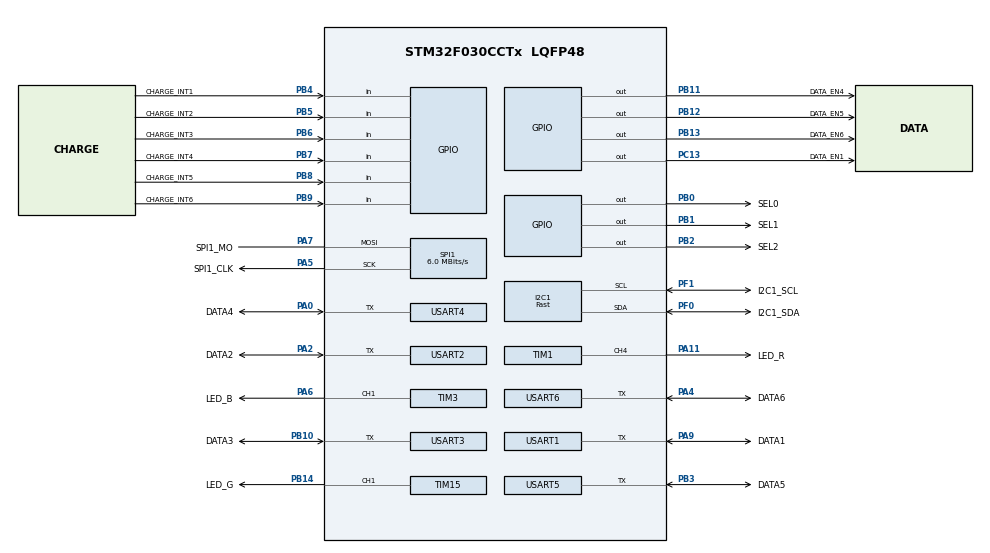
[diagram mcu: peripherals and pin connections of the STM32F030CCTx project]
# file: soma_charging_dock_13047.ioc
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I2C1.I2C_Speed_Mode=I2C_Fast
I2C1.Timing=0x0000020B
Mcu.Family=STM32F0
Mcu.Name=STM32F030CCTx
Mcu.Package=LQFP48
NVIC.USART1_IRQn=true\:0\:0\:false\:false\:true\:true\:true\:true
NVIC.USART2_IRQn=true\:0\:0\:false\:false\:true\:true\:true\:true
NVIC.USART3_6_IRQn=true\:0\:0\:false\:false\:true\:true\:true\:true
PA0.GPIO_Label=DATA4
PA0.Mode=Half_duplex(single_wire_mode)
PA0.Signal=USART4_TX
PA11.GPIO_Label=LED_R
PA11.GPIO_PuPd=GPIO_PULLDOWN
PA11.Signal=S_TIM1_CH4
PA13.Mode=Serial_Wire
PA13.Signal=SYS_SWDIO
PA14.Mode=Serial_Wire
PA14.Signal=SYS_SWCLK
PA2.GPIO_Label=DATA2
PA2.Mode=Half_duplex(single_wire_mode)
PA2.Signal=USART2_TX
PA4.GPIO_Label=DATA6
PA4.Mode=Half_duplex(single_wire_mode)
PA4.Signal=USART6_TX
PA5.GPIO_Label=SPI1_CLK
PA5.GPIO_Speed=GPIO_SPEED_FREQ_LOW
PA5.Mode=Simplex_Bidirectional_Master
PA5.Signal=SPI1_SCK
PA6.GPIO_Label=LED_B
PA6.GPIO_PuPd=GPIO_PULLDOWN
PA6.Signal=S_TIM3_CH1
PA7.GPIO_Label=SPI1_MO
PA7.GPIO_Speed=GPIO_SPEED_FREQ_LOW
PA7.Mode=Simplex_Bidirectional_Master
PA7.Signal=SPI1_MOSI
PA9.GPIO_FMA9=SYSCFG_CFGR1_I2C_FMP_PA9
PA9.GPIO_Label=DATA1
PA9.GPIO_Speed=GPIO_SPEED_FREQ_HIGH
PA9.Mode=Half_duplex(single_wire_mode)
PA9.Signal=USART1_TX
PB0.GPIO_Label=SEL0
PB0.Signal=GPIO_Output
PB1.GPIO_Label=SEL1
PB1.Signal=GPIO_Output
PB10.GPIO_Label=DATA3
PB10.GPIO_ModeDefaultOD=GPIO_MODE_AF_OD
PB10.Mode=Half_duplex(single_wire_mode)
PB10.Signal=USART3_TX
PB11.GPIO_Label=DATA_EN4
PB11.Signal=GPIO_Output
PB12.GPIO_Label=DATA_EN5
PB12.Signal=GPIO_Output
PB13.GPIO_Label=DATA_EN6
PB13.Signal=GPIO_Output
PB14.GPIO_Label=LED_G
PB14.GPIO_PuPd=GPIO_PULLDOWN
PB14.Signal=S_TIM15_CH1
PB2.GPIO_Label=SEL2
PB2.Signal=GPIO_Output
PB3.GPIO_Label=DATA5
PB3.Mode=Half_duplex(single_wire_mode)
PB3.Signal=USART5_TX
PB4.GPIO_Label=CHARGE_INT1
PB4.GPIO_PuPd=GPIO_PULLUP
PB4.Signal=GPIO_Input
PB5.GPIO_Label=CHARGE_INT2
PB5.GPIO_PuPd=GPIO_PULLUP
PB5.Signal=GPIO_Input
PB6.GPIO_Label=CHARGE_INT3
PB6.GPIO_PuPd=GPIO_PULLUP
PB6.Signal=GPIO_Input
PB7.GPIO_Label=CHARGE_INT4
PB7.GPIO_PuPd=GPIO_PULLUP
PB7.Signal=GPIO_Input
PB8.GPIO_Label=CHARGE_INT5
PB8.GPIO_PuPd=GPIO_PULLUP
PB8.Signal=GPIO_Input
PB9.GPIO_Label=CHARGE_INT6
PB9.GPIO_PuPd=GPIO_PULLUP
PB9.Signal=GPIO_Input
PC13.GPIO_Label=DATA_EN1
PC13.Signal=GPIO_Output
PC14OSC32_IN.GPIO_Label=DATA_EN2
PC14OSC32_IN.Signal=GPIO_Output
PC15OSC32_OUT.GPIO_Label=DATA_EN3
PC15OSC32_OUT.Signal=GPIO_Output
PF0-OSC_IN.GPIO_Label=I2C1_SDA
PF0-OSC_IN.GPIO_Pu=GPIO_PULLUP
PF0-OSC_IN.GPIO_Speed=GPIO_SPEED_FREQ_LOW
PF0-OSC_IN.Mode=I2C
PF0-OSC_IN.Signal=I2C1_SDA
PF1-OSC_OUT.GPIO_Label=I2C1_SCL
PF1-OSC_OUT.GPIO_Pu=GPIO_PULLUP
PF1-OSC_OUT.GPIO_Speed=GPIO_SPEED_FREQ_LOW
PF1-OSC_OUT.Mode=I2C
PF1-OSC_OUT.Signal=I2C1_SCL
ProjectManager.HeapSize=0x200
ProjectManager.StackSize=0x400
ProjectManager.TargetToolchain=MDK-ARM V5.32
RCC.AHBFreq_Value=48000000
RCC.APB1Freq_Value=48000000
RCC.APB1TimFreq_Value=48000000
RCC.HCLKFreq_Value=48000000
RCC.PLLMUL=RCC_PLL_MUL6
RCC.SYSCLKFreq_VALUE=48000000
RCC.SYSCLKSource=RCC_SYSCLKSOURCE_PLLCLK
SH.S_TIM15_CH1.0=TIM15_CH1,PWM Generation1 CH1
SH.S_TIM1_CH4.0=TIM1_CH4,PWM Generation4 CH4
SH.S_TIM3_CH1.0=TIM3_CH1,PWM Generation1 CH1
SPI1.BaudRatePrescaler=SPI_BAUDRATEPRESCALER_8
SPI1.CLKPhase=SPI_PHASE_2EDGE
SPI1.CLKPolarity=SPI_POLARITY_LOW
SPI1.CalculateBaudRate=6.0 MBits/s
SPI1.DataSize=SPI_DATASIZE_8BIT
SPI1.Direction=SPI_DIRECTION_1LINE
SPI1.Mode=SPI_MODE_MASTER
SPI1.VirtualType=VM_MASTER
TIM1.AutoReloadPreload=TIM_AUTORELOAD_PRELOAD_ENABLE
TIM1.AutomaticOutput=TIM_AUTOMATICOUTPUT_ENABLE
TIM1.Channel-PWM\ Generation4\ CH4=TIM_CHANNEL_4
TIM1.Period=99
TIM1.Prescaler=479
TIM1.Pulse-PWM\ Generation4\ CH4=30
TIM15.AutoReloadPreload=TIM_AUTORELOAD_PRELOAD_ENABLE
TIM15.AutomaticOutput=TIM_AUTOMATICOUTPUT_ENABLE
TIM15.Channel-PWM\ Generation1\ CH1=TIM_CHANNEL_1
TIM15.Period=99
TIM15.Prescaler=479
TIM15.Pulse-PWM\ Generation1\ CH1=30
TIM3.AutoReloadPreload=TIM_AUTORELOAD_PRELOAD_ENABLE
TIM3.Channel-PWM\ Generation1\ CH1=TIM_CHANNEL_1
TIM3.Period=99
TIM3.Prescaler=479
TIM3.Pulse-PWM\ Generation1\ CH1=30
USART1.BaudRate=1000000
USART1.OverSampling=UART_OVERSAMPLING_8
USART1.VirtualMode-Half_duplex(single_wire_mode)=VM_ASYNC
USART2.BaudRate=1000000
USART2.VirtualMode-Half_duplex(single_wire_mode)=VM_ASYNC
USART3.BaudRate=1000000
USART3.VirtualMode-Half_duplex(single_wire_mode)=VM_ASYNC
USART4.BaudRate=1000000
USART4.VirtualMode-Half_duplex(single_wire_mode)=VM_ASYNC
USART5.BaudRate=1000000
USART5.VirtualMode-Half_duplex(single_wire_mode)=VM_ASYNC
USART6.BaudRate=1000000
USART6.VirtualMode=VM_ASYNC
VP_TIM15_VS_ClockSourceINT.Mode=Internal
VP_TIM1_VS_ClockSourceINT.Mode=Internal
VP_TIM3_VS_ClockSourceINT.Mode=Internal
board=custom

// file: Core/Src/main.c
/* USER CODE BEGIN Header */
/**
  ******************************************************************************
  * @file           : main.c
  * @brief          : Main program body
  ******************************************************************************
  * @attention
  *
  * Copyright (c) 2024 STMicroelectronics.
  * All rights reserved.
  *
  * This software is licensed under terms that can be found in the LICENSE file
  * in the root directory of this software component.
  * If no LICENSE file comes with this software, it is provided AS-IS.
  *
  ******************************************************************************
  */
/* USER CODE END Header */
#include "main.h"
#include "i2c.h"
#include "spi.h"
#include "tim.h"
#include "usart.h"
#include "gpio.h"

/* USER CODE BEGIN Includes */
#include "app_rgbled.h"
#include "app_mp2664gg.h"

/* USER CODE END Includes */

void SystemClock_Config(void);

/* USER CODE BEGIN 0 */

void delay_nop(uint32_t nCount)
{
   for(; nCount != 0; nCount--)
   {
      __NOP();
   }
}

void Send_Data_To_UART1 (uint8_t c)
{
   USART1->TDR = c;
   while( (USART1-> ISR & (1<<7) ) ==0 );  //USART_ISR_TC  //USART_ISR_TXE_TXFNF
}

void iputs1(char *msg)
{
   while(*msg)
   Send_Data_To_UART1(*msg++);
}

void iputbytes1(uint8_t *msg, uint32_t ilen)
{
   while(ilen--)
   Send_Data_To_UART1(*msg++);
}

void uartsendcmd(uint8_t *scmd, uint32_t ilen)
{
   //switch to tx
   delay_nop(WAIT2TE_SLAVE); //delay_nop(WAIT2TE_MASTER);
   switch2send(USART1);

   //iputbytes1((uint8_t *)scmd,ilen);
   iputbytes1(scmd,ilen);

   //switch to rx
   delay_nop(WAIT2RE_SLAVE);  //delay_nop(WAIT2RE0_MASTER);
   switch2read(USART1);
}

void uartsendstr(uint8_t *str1)
{
   //switch to tx
   delay_nop(WAIT2TE_SLAVE); //delay_nop(WAIT2TE_MASTER);
   switch2send(USART1);

   iputs1((char*)str1);

   //switch to rx
   delay_nop(WAIT2RE_SLAVE);  //delay_nop(WAIT2RE0_MASTER);
   switch2read(USART1);
}

//-----------------uartx-------------------------------------

void Send_Data_To_UARTx(USART_TypeDef *USARTx, uint8_t c)
{
   USARTx->TDR = c;
   while( (USARTx-> ISR & (1<<7) ) ==0 );  //USART_ISR_TC  //USART_ISR_TXE_TXFNF
}

void iputsx(USART_TypeDef *USARTx , char *msg)
{
   while(*msg)
   Send_Data_To_UARTx(USARTx ,*msg++);
}

void iputbytesx(USART_TypeDef *USARTx, uint8_t *msg, uint32_t ilen)
{
   while(ilen--)
   Send_Data_To_UARTx(USARTx ,*msg++);
}

void uartsendcmdx(USART_TypeDef *USARTx, uint8_t *scmd, uint32_t ilen)
{
   //switch to tx
   delay_nop(WAIT2TE_SLAVE);
   switch2send(USARTx);

   iputbytesx(USARTx, scmd,ilen);

   //switch to rx
   delay_nop(WAIT2RE_SLAVE);
   switch2read(USARTx);
}

void uartsendstrx(USART_TypeDef *USARTx, uint8_t *str1)
{
   //switch to tx
   delay_nop(WAIT2TE_SLAVE);
   switch2send(USARTx);

   iputsx(USARTx, (char*)str1);

   //switch to rx
   delay_nop(WAIT2RE_SLAVE);
   switch2read(USARTx);
}

//-----------------uartx----------end---------------------------

void spi_transmitbytes(uint8_t *sdata, uint16_t inum)
{
   for(uint16_t i =0; i< inum; i++)
   {
      LL_SPI_TransmitData8(SPI1, sdata[i]);
      while(!LL_SPI_IsActiveFlag_TXE(SPI1));
   }
}

void pwmled_task(void)
{
     static uint32_t iduty=0;

     iduty++;
     if(iduty>10)
        iduty=0;

     LL_TIM_OC_SetCompareCH1(TIM3, iduty);
     LL_TIM_OC_SetCompareCH4(TIM1, iduty);
     LL_TIM_OC_SetCompareCH1(TIM15, iduty);

}

uint8_t i2c_writereg(uint16_t idevaddr, uint8_t ireg,uint8_t data)
{
   if((HAL_I2C_Mem_Write(&hi2c1,idevaddr,ireg,I2C_MEMADD_SIZE_8BIT,&data,1,1000)) == HAL_OK)
   {
      return 0;
   }
   else
   {
      return 1;
   }
}

uint8_t i2c_readreg(uint16_t idevaddr,uint8_t ireg)
{
   uint8_t res;
   HAL_I2C_Mem_Read(&hi2c1,idevaddr,ireg,I2C_MEMADD_SIZE_8BIT,&res,1,1000);
   return res;
}

uint8_t i2c_writebytes(uint16_t idevaddr, uint8_t ireg, uint8_t *sbuf,uint16_t ilen)
{
   if((HAL_I2C_Mem_Write(&hi2c1,idevaddr,ireg,I2C_MEMADD_SIZE_8BIT,sbuf,ilen,1000)) == HAL_OK)
   {
      return 0;
   }
   else
   {
      return 1;
   }
}

uint8_t i2c_readbytes(uint16_t idevaddr,uint8_t ireg,uint8_t *sbuf,uint16_t ilen)
{
   if((HAL_I2C_Mem_Read(&hi2c1,idevaddr,ireg,I2C_MEMADD_SIZE_8BIT,sbuf,ilen,1000)) == HAL_OK)
   {
      return 0;
   }
   else
   {
      return 1;
   }
}

/* USER CODE END 0 */

int main(void)
{

  /* MCU Configuration--------------------------------------------------------*/

  /* Reset of all peripherals, Initializes the Flash interface and the Systick. */
  HAL_Init();

  /* Configure the system clock */
  SystemClock_Config();

  /* Initialize all configured peripherals */
  MX_GPIO_Init();
  MX_USART1_UART_Init();
  MX_SPI1_Init();
  MX_TIM3_Init();
  MX_TIM1_Init();
  MX_TIM15_Init();
  MX_I2C1_Init();
  MX_USART2_UART_Init();
  MX_USART3_UART_Init();
  MX_USART4_UART_Init();
  MX_USART5_UART_Init();
  MX_USART6_UART_Init();
  /* USER CODE BEGIN 2 */

   LL_GPIO_ResetOutputPin( DATA_EN1_GPIO_Port, DATA_EN1_Pin);
   LL_GPIO_ResetOutputPin( DATA_EN2_GPIO_Port, DATA_EN2_Pin);
   LL_GPIO_ResetOutputPin( DATA_EN3_GPIO_Port, DATA_EN3_Pin);
   LL_GPIO_ResetOutputPin( DATA_EN4_GPIO_Port, DATA_EN4_Pin);
   LL_GPIO_ResetOutputPin( DATA_EN5_GPIO_Port, DATA_EN5_Pin);
   LL_GPIO_ResetOutputPin( DATA_EN6_GPIO_Port, DATA_EN6_Pin);

   uartsendstrx(USART1,(uint8_t*)"start1...");
   uartsendstrx(USART2,(uint8_t*)"start2...");
   uartsendstrx(USART3,(uint8_t*)"start3...");
   uartsendstrx(USART4,(uint8_t*)"start4...");
   uartsendstrx(USART5,(uint8_t*)"start5...");
   uartsendstrx(USART6,(uint8_t*)"start6...");

   LL_SPI_Enable(SPI1);

   //TIM3 CH1 PA6
   LL_TIM_CC_EnableChannel(TIM3, LL_TIM_CHANNEL_CH1);
   LL_TIM_EnableCounter(TIM3);

   //TIM1 CH4 PA11
   LL_TIM_CC_EnableChannel(TIM1, LL_TIM_CHANNEL_CH4);
   LL_TIM_EnableCounter(TIM1);

   //TIM15 CH1 PB14
   LL_TIM_CC_EnableChannel(TIM15, LL_TIM_CHANNEL_CH1);
   LL_TIM_EnableCounter(TIM15);

  /* USER CODE END 2 */

  /* Infinite loop */
  /* USER CODE BEGIN WHILE */

  //SEL2-0: 000 , sel I2C_SCL_1
   LL_GPIO_ResetOutputPin( SEL0_GPIO_Port, SEL0_Pin);
   LL_GPIO_ResetOutputPin( SEL1_GPIO_Port, SEL1_Pin);
   LL_GPIO_ResetOutputPin( SEL2_GPIO_Port, SEL2_Pin);

   while (1)
   {
      static uint32_t imaincount=0;
      uint8_t itemp=0;

      imaincount++;

      if(imaincount>2500000)
      {
         imaincount=0;

         //--------test charge current----------------------------------

         opencharge(BATT_CHANNEL0);
         set_fastcharge_current(BATT_CHANNEL0, 0x10);
         set_batt_regulation_voltage(BATT_CHANNEL0, 0x28<<2 );

         itemp=i2c_readreg( ICADDR_MP2664GG,MP2664GG_POWERON_CONFIG_REG);
         uartsendcmd( (uint8_t*)&itemp,1);
         itemp=i2c_readreg( ICADDR_MP2664GG,MP2664GG_CHARGECURRENT_CONTROL_REG);
         uartsendcmd( (uint8_t*)&itemp,1);
         itemp=i2c_readreg( ICADDR_MP2664GG,MP2664GG_CHARGEVOLTAGE_CONTROL_REG);
         uartsendcmd( (uint8_t*)&itemp,1);

         //read the status
         //closecharge(BATT_CHANNEL0);
         itemp=get_system_status(BATT_CHANNEL0);
         uartsendcmd( (uint8_t*)&itemp,1);
         itemp=get_fault(BATT_CHANNEL0);
         uartsendcmd( (uint8_t*)&itemp,1);

         //--------test charge current-----end-----------------------------

         ////uart
         //LL_GPIO_ResetOutputPin( DATA_EN1_GPIO_Port, DATA_EN1_Pin);
         //uartsendstrx(USART1,(uint8_t*)"123");

         //LL_GPIO_ResetOutputPin( DATA_EN2_GPIO_Port, DATA_EN2_Pin);
         //LL_GPIO_ResetOutputPin( DATA_EN3_GPIO_Port, DATA_EN3_Pin);
         //LL_GPIO_ResetOutputPin( DATA_EN4_GPIO_Port, DATA_EN4_Pin);
         //LL_GPIO_ResetOutputPin( DATA_EN5_GPIO_Port, DATA_EN5_Pin);
         //LL_GPIO_ResetOutputPin( DATA_EN6_GPIO_Port, DATA_EN6_Pin);
         //uartsendstrx(USART2,(uint8_t*)"22222bccdef");
         //uartsendstrx(USART3,(uint8_t*)"33333bccdef");
         //uartsendstrx(USART4,(uint8_t*)"44444bccdef");
         //uartsendstrx(USART5,(uint8_t*)"5555bccdef");
         //uartsendstrx(USART6,(uint8_t*)"6666bccdef");

         //rgbled
         set_color_rgb(8, 15, 5);
         rgbled_task();

         //pwm led
         pwmled_task();
      }

      //LL_mDelay(1000);

    /* USER CODE END WHILE */

   }
}

void SystemClock_Config(void)
{
  LL_FLASH_SetLatency(LL_FLASH_LATENCY_1);
  while(LL_FLASH_GetLatency() != LL_FLASH_LATENCY_1)
  {
  }
  LL_RCC_HSI_Enable();

   /* Wait till HSI is ready */
  while(LL_RCC_HSI_IsReady() != 1)
  {

  }
  LL_RCC_HSI_SetCalibTrimming(16);
  LL_RCC_PLL_ConfigDomain_SYS(LL_RCC_PLLSOURCE_HSI, LL_RCC_PLL_MUL_6, LL_RCC_PREDIV_DIV_1);
  LL_RCC_PLL_Enable();

   /* Wait till PLL is ready */
  while(LL_RCC_PLL_IsReady() != 1)
  {

  }
  LL_RCC_SetAHBPrescaler(LL_RCC_SYSCLK_DIV_1);
  LL_RCC_SetAPB1Prescaler(LL_RCC_APB1_DIV_1);
  LL_RCC_SetSysClkSource(LL_RCC_SYS_CLKSOURCE_PLL);

   /* Wait till System clock is ready */
  while(LL_RCC_GetSysClkSource() != LL_RCC_SYS_CLKSOURCE_STATUS_PLL)
  {

  }
  LL_SetSystemCoreClock(48000000);

   /* Update the time base */
  if (HAL_InitTick (TICK_INT_PRIORITY) != HAL_OK)
  {
    Error_Handler();
  }
  LL_RCC_SetUSARTClockSource(LL_RCC_USART1_CLKSOURCE_PCLK1);
  LL_RCC_SetI2CClockSource(LL_RCC_I2C1_CLKSOURCE_HSI);
}

void Error_Handler(void)
{
  __disable_irq();
  while (1)
  {
  }
}
